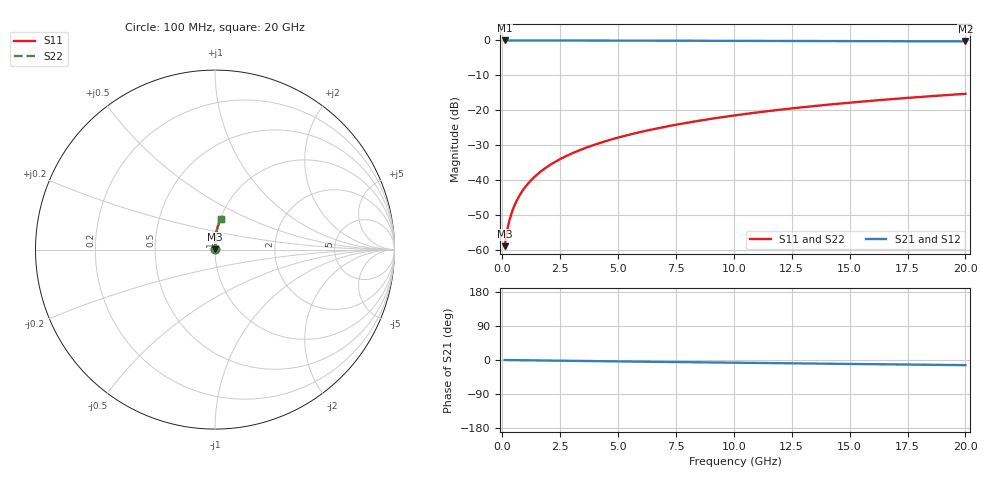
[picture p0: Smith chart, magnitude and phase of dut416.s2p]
! Touchstone file exported from HFSS 2024.1.0
!  File:  C:/UserFiles/LocalFiles/RDL_TSV_Batchsim/temp_RDL_top_416_1779675835.aedt
!  Generated:  10:26:15 AM May 25, 2026
!  Design:  RDL_top
!  Project:  temp_RDL_top_416_1779675835
!  Setup:  Setup1
!  Solution:  Sweep
! Variables:
!  dtsv = 10.80580581um
!  hbump = 3um
!  htsv = 91.57um
!  ldown = 100um
!  lrdl = 132.88um
!  p = 40
!  p1 = 59.92um
!  rhole = 1um
!  t = 450um
!  tdown = 3.915915916um
!  trdl = 4.01um
!  wdown = 15.38538539um
!  wrdl = 20.53um
# GHz S MA R 50.000000
! Terminal data exported
! Port[1] = Box2_T1
! Port[2] = Box2_T2
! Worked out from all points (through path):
!   200 points, 100 MHz to 20 GHz, reference 50 ohm
!   highest |S21| = -0.01 dB at 100 MHz (marker M1); lowest = -0.3 dB at 20 GHz (marker M2)
!   group delay of S21, straight-line fit = 1.87 ps
!   lowest |S11| = -59.0 dB at 100 MHz (marker M3), VSWR 1.00, Z = 50.1 + j0.0835 ohm
!   |S11| at or under -10 dB: start of sweep to end of sweep
!   |S22| runs from -59.0 to -15.3 dB; largest |S21 - S12| = 2.1e-15
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0.1  0.001127 47.7  0.9992 -0.1  0.9992 -0.1  0.001127 47.7
! Gamma 0 0 0 0
! Port Impedance 50 0 50 0
0.2  0.001828 64.5  0.9992 -0.2  0.9992 -0.2  0.001828 64.5
0.3  0.002581 71.6  0.9992 -0.2  0.9992 -0.2  0.002581 71.6
0.4  0.003344 75.5  0.9991 -0.3  0.9991 -0.3  0.003344 75.5
0.5  0.004112 78.0  0.9991 -0.4  0.9991 -0.4  0.004112 78.0
0.7  0.00566 81.2  0.999 -0.5  0.999 -0.5  0.00566 81.2
0.8  0.006439 82.2  0.999 -0.6  0.999 -0.6  0.006439 82.2
1  0.008004 83.7  0.9989 -0.8  0.9989 -0.8  0.008003 83.7
1.2  0.009576 84.7  0.9988 -0.9  0.9988 -0.9  0.009576 84.7
1.4  0.01115 85.5  0.9987 -1.1  0.9987 -1.1  0.01115 85.5
1.7  0.01353 86.3  0.9985 -1.3  0.9985 -1.3  0.01353 86.3
2  0.01592 86.9  0.9983 -1.5  0.9983 -1.5  0.01592 86.9
2.7  0.02154 87.7  0.9976 -2.0  0.9976 -2.0  0.02154 87.7
3.5  0.02805 88.2  0.9967 -2.6  0.9967 -2.6  0.02805 88.2
4.2  0.03382 88.4  0.9958 -3.1  0.9958 -3.1  0.03382 88.4
5  0.04051 88.4  0.9947 -3.7  0.9947 -3.7  0.04051 88.4
6.8  0.05587 88.1  0.9918 -5.0  0.9918 -5.0  0.05587 88.1
8.3  0.06894 87.4  0.9894 -6.0  0.9894 -6.0  0.06894 87.4
10.1  0.08482 86.4  0.9863 -7.2  0.9863 -7.2  0.08482 86.4
13.4  0.1141 84.3  0.9807 -9.4  0.9807 -9.4  0.1141 84.3
16.7  0.1432 81.9  0.975 -11.5  0.975 -11.5  0.1432 81.9
20  0.1718 79.6  0.9689 -13.6  0.9689 -13.6  0.1718 79.6
